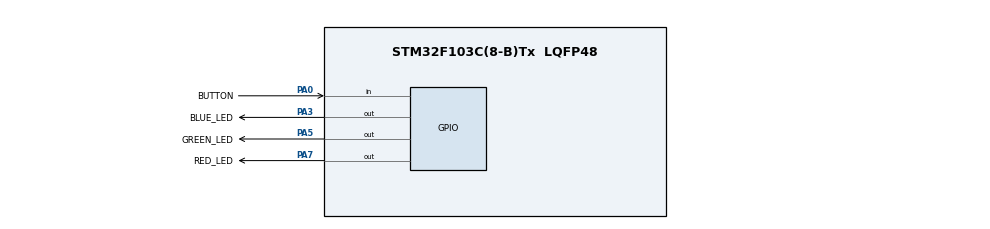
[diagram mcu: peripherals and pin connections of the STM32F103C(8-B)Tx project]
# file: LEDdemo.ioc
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Mcu.Family=STM32F1
Mcu.Name=STM32F103C(8-B)Tx
Mcu.Package=LQFP48
NVIC.PriorityGroup=NVIC_PRIORITYGROUP_4
PA13.Mode=Serial_Wire
PA13.Signal=SYS_JTMS-SWDIO
PA14.Mode=Serial_Wire
PA14.Signal=SYS_JTCK-SWCLK
PA0.GPIO_Label=BUTTON
PA0.GPIO_PuPd=GPIO_PULLUP
PA0.Signal=GPIO_Input
PA3.GPIO_Label=BLUE_LED
PA3.Signal=GPIO_Output
PA5.GPIO_Label=GREEN_LED
PA5.Signal=GPIO_Output
PA7.GPIO_Label=RED_LED
PA7.Signal=GPIO_Output
ProjectManager.HeapSize=0x200
ProjectManager.StackSize=0x400
ProjectManager.TargetToolchain=CMake
RCC.APB1Freq_Value=8000000
RCC.APB2Freq_Value=8000000
board=custom

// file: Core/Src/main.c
/* USER CODE BEGIN Header */
/**
  ******************************************************************************
  * @file           : main.c
  * @brief          : Main program body
  ******************************************************************************
  * @attention
  *
  * Copyright (c) 2026 STMicroelectronics.
  * All rights reserved.
  *
  * This software is licensed under terms that can be found in the LICENSE file
  * in the root directory of this software component.
  * If no LICENSE file comes with this software, it is provided AS-IS.
  *
  ******************************************************************************
  */
/* USER CODE END Header */
#include "main.h"

void SystemClock_Config(void);
static void MX_GPIO_Init(void);

int main(void)
{

  /* MCU Configuration--------------------------------------------------------*/

  /* Reset of all peripherals, Initializes the Flash interface and the Systick. */
   HAL_Init();

  /* Configure the system clock */
  SystemClock_Config();

  /* Initialize all configured peripherals */
  MX_GPIO_Init();
  /* USER CODE BEGIN 2 */
  uint32_t now = HAL_GetTick();
  uint32_t last_blink_tick = now;
  uint32_t last_chase_tick = now;
  uint32_t button_change_tick = now;
  uint32_t press_start_tick = 0;
  GPIO_PinState button_candidate = GPIO_PIN_SET;
  GPIO_PinState button_stable = GPIO_PIN_SET;
  uint8_t chasing = 0;
  uint8_t chase_index = 0;
  const uint16_t led_pins[] = {RED_LED_Pin, GREEN_LED_Pin, BLUE_LED_Pin};
  /* USER CODE END 2 */

  /* Infinite loop */
  /* USER CODE BEGIN WHILE */
  while (1)
  {
    now = HAL_GetTick();  // 获取系统启动以来的毫秒数，用于非阻塞计时

    GPIO_PinState button_raw = HAL_GPIO_ReadPin(BUTTON_GPIO_Port, BUTTON_Pin);  // 读取按键当前的原始电平
    if (button_raw != button_candidate)  // 原始读数变化时，重新开始按键消抖计时
    {
      button_candidate = button_raw;  // 原始电平变化，更新候选状态
      button_change_tick = now;  // 记录这次变化发生的时间，开始消抖计时
    }
    if ((button_candidate != button_stable) && (now - button_change_tick >= 20U))  // 候选状态与稳定状态不同且已持续 20 ms
    {
      button_stable = button_candidate;  // 候选状态持续至少 20 ms，确认为稳定状态
      if (button_stable == GPIO_PIN_RESET)  // RESET 表示按键按下（输入使用上拉）
      {
        press_start_tick = now;  // 按键确认按下，记录按下起始时间
      }
      else if (chasing != 0U)  // 只有流水灯运行中，松开按键才停止该模式
      {
        chasing = 0U;  // 按键确认松开，停止流水灯模式
        HAL_GPIO_WritePin(GPIOA, RED_LED_Pin | GREEN_LED_Pin | BLUE_LED_Pin, GPIO_PIN_RESET);  // 将三个 LED 引脚都设为低电平
        last_blink_tick = now;  // 重置普通闪烁计时，避免松开后立即翻转
      }
    }

    if ((button_stable == GPIO_PIN_RESET) && (chasing == 0U) &&  // 按键仍按下且流水灯尚未启动
        (now - press_start_tick >= 500U))  // 本次按下持续时间达到 500 ms
    {
      chasing = 1U;  // 按键持续按下达到 500 ms，进入流水灯模式
      chase_index = 0U;  // 将流水灯索引设为 0（RED_LED_Pin）
      last_chase_tick = now;  // 记录流水灯启动时间
      HAL_GPIO_WritePin(GPIOA, RED_LED_Pin | GREEN_LED_Pin | BLUE_LED_Pin, GPIO_PIN_RESET);  // 三个 LED 引脚先全部设为低电平
      HAL_GPIO_WritePin(GPIOA, led_pins[chase_index], GPIO_PIN_SET);  // 将当前索引对应的 LED 引脚设为高电平
    }

    if (chasing != 0U)  // 流水灯模式下只处理流水灯计时
    {
      if (now - last_chase_tick >= 500U)  // 距离上次切换已达到 500 ms
      {
        last_chase_tick = now;  // 更新上次切换时间，每 500 ms 切换一次
        HAL_GPIO_WritePin(GPIOA, RED_LED_Pin | GREEN_LED_Pin | BLUE_LED_Pin, GPIO_PIN_SET);  // 三个 LED 引脚先全部设为高电平
        chase_index = (uint8_t)((chase_index + 1U) % 3U);  // 索引加一，并用取模让 0、1、2 循环
        HAL_GPIO_WritePin(GPIOA, led_pins[chase_index], GPIO_PIN_RESET);  // 将新索引对应的 LED 引脚设为低电平
      }
    }
    else if (now - last_blink_tick >= 1000U)  // 非流水灯模式下，每 1000 ms 执行一次普通闪烁
    {
      last_blink_tick = now;  // 更新普通闪烁的上次翻转时间
      HAL_GPIO_TogglePin(GPIOA, RED_LED_Pin | GREEN_LED_Pin | BLUE_LED_Pin);  // 每隔 1000 ms 翻转三个 LED 引脚的电平
    }
    /* USER CODE END WHILE */

  }
}

void SystemClock_Config(void)
{
  RCC_OscInitTypeDef RCC_OscInitStruct = {0};
  RCC_ClkInitTypeDef RCC_ClkInitStruct = {0};

  /** Initializes the RCC Oscillators according to the specified parameters
  * in the RCC_OscInitTypeDef structure.
  */
  RCC_OscInitStruct.OscillatorType = RCC_OSCILLATORTYPE_HSI;
  RCC_OscInitStruct.HSIState = RCC_HSI_ON;
  RCC_OscInitStruct.HSICalibrationValue = RCC_HSICALIBRATION_DEFAULT;
  RCC_OscInitStruct.PLL.PLLState = RCC_PLL_NONE;
  if (HAL_RCC_OscConfig(&RCC_OscInitStruct) != HAL_OK)
  {
    Error_Handler();
  }

  /** Initializes the CPU, AHB and APB buses clocks
  */
  RCC_ClkInitStruct.ClockType = RCC_CLOCKTYPE_HCLK|RCC_CLOCKTYPE_SYSCLK
                              |RCC_CLOCKTYPE_PCLK1|RCC_CLOCKTYPE_PCLK2;
  RCC_ClkInitStruct.SYSCLKSource = RCC_SYSCLKSOURCE_HSI;
  RCC_ClkInitStruct.AHBCLKDivider = RCC_SYSCLK_DIV1;
  RCC_ClkInitStruct.APB1CLKDivider = RCC_HCLK_DIV1;
  RCC_ClkInitStruct.APB2CLKDivider = RCC_HCLK_DIV1;

  if (HAL_RCC_ClockConfig(&RCC_ClkInitStruct, FLASH_LATENCY_0) != HAL_OK)
  {
    Error_Handler();
  }
}

static void MX_GPIO_Init(void)
{
  GPIO_InitTypeDef GPIO_InitStruct = {0};

  /* GPIO Ports Clock Enable */
  __HAL_RCC_GPIOA_CLK_ENABLE();

  /* PA9 supplies the button's low level; the button connects it to PA10. */
  HAL_GPIO_WritePin(GPIOA, BUTTON_GND_Pin, GPIO_PIN_RESET);
  GPIO_InitStruct.Pin = BUTTON_GND_Pin;
  GPIO_InitStruct.Mode = GPIO_MODE_OUTPUT_PP;
  GPIO_InitStruct.Pull = GPIO_NOPULL;
  GPIO_InitStruct.Speed = GPIO_SPEED_FREQ_LOW;
  HAL_GPIO_Init(GPIOA, &GPIO_InitStruct);

  /*Configure GPIO pin Output Level */
  HAL_GPIO_WritePin(GPIOA, RED_LED_Pin | GREEN_LED_Pin | BLUE_LED_Pin, GPIO_PIN_RESET);

  /*Configure GPIO pins : PA3 PA5 PA7 */
  GPIO_InitStruct.Pin = RED_LED_Pin | GREEN_LED_Pin | BLUE_LED_Pin;
  GPIO_InitStruct.Mode = GPIO_MODE_OUTPUT_PP;
  GPIO_InitStruct.Pull = GPIO_NOPULL;
  GPIO_InitStruct.Speed = GPIO_SPEED_FREQ_LOW;
  HAL_GPIO_Init(GPIOA, &GPIO_InitStruct);

  /*Configure GPIO pin : BUTTON_Pin */
  GPIO_InitStruct.Pin = BUTTON_Pin;
  GPIO_InitStruct.Mode = GPIO_MODE_INPUT;
  GPIO_InitStruct.Pull = GPIO_PULLUP;
  HAL_GPIO_Init(BUTTON_GPIO_Port, &GPIO_InitStruct);

}

void Error_Handler(void)
{
  __disable_irq();
  while (1)
  {
  }
}
